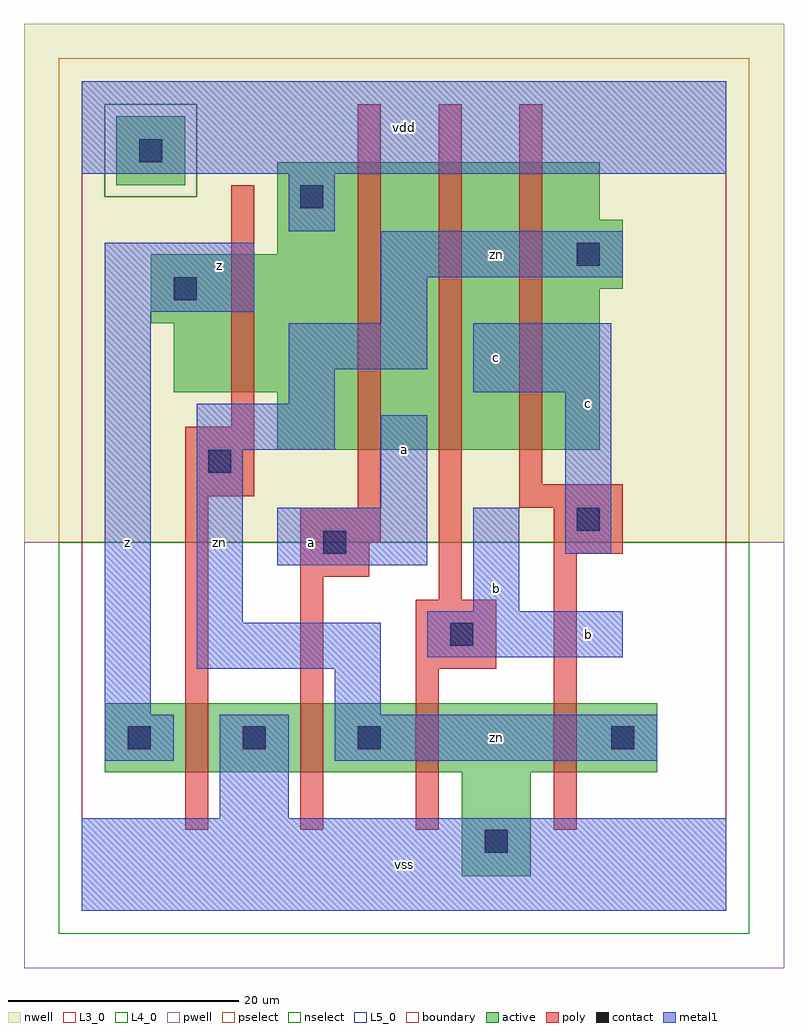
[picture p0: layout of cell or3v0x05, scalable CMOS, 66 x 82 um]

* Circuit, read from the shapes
.subckt or3v0x05 a b c vdd vss z zn
M1 vss zn z VSUBS nfet w=6u l=2u
M2 zn a vss VSUBS nfet w=6u l=2u
M3 vss b zn VSUBS nfet w=6u l=2u
M4 zn c vss VSUBS nfet w=6u l=2u
M5 vdd zn z vdd pfet w=12u l=2u
M6 n1 a vdd vdd pfet w=25u l=2u
M7 n2 b n1 vdd pfet w=25u l=2u
M8 zn c n2 vdd pfet w=25u l=2u
.ends

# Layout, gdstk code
import gdstk
lib = gdstk.Library(unit=1e-6, precision=1e-09)
def R(c, l, rs):  # rectangles x0, y0, x1, y1
    for r in rs: c.add(gdstk.rectangle(r[:2], r[2:], *l))
def A(c, l, x, y, w, h, nx, ny, dx, dy):  # array of equal rectangles
    R(c, l, [(x+i*dx, y+j*dy, x+i*dx+w, y+j*dy+h) for i in range(nx) for j in range(ny)])
L3_0 = (3, 0)
L4_0 = (4, 0)
L5_0 = (5, 0)
contact = (25, 0)
pwell = (41, 0)
nwell = (42, 0)
active = (43, 0)
pselect = (44, 0)
nselect = (45, 0)
poly = (46, 0)
metal1 = (49, 0)
boundary = (63, 0)

or3v0x05 = lib.new_cell('or3v0x05')
R(or3v0x05, L3_0, [(33,3,39,12), (2,12,50,18)])
R(or3v0x05, L4_0, [(17,40,45,45), (8,45,45,51), (6,51,45,54), (6,54,47,57), (17,57,47,60), (17,60,45,65)])
R(or3v0x05, L5_0, [(3,63,9,69)])
A(or3v0x05, contact, 4, 14, 2, 2, 3, 1, 10, 0)
R(or3v0x05, contact, [(35,5,37,7), (46,14,48,16), (32,23,34,25), (21,31,23,33), (43,33,45,35), (11,38,13,40), (8,53,10,55), (43,56,45,58), (19,61,21,63), (5,65,7,67)])
R(or3v0x05, pwell, [(-5,-5,61,32)])
R(or3v0x05, nwell, [(-5,32,61,77)])
R(or3v0x05, active, [(33,3,39,12), (2,12,50,18), (17,40,45,45), (8,45,45,51), (6,51,45,54), (6,54,47,57), (17,57,47,60), (17,60,45,65), (3,63,9,69)])
R(or3v0x05, pselect, [(-2,32,58,62), (-2,62,2,70), (10,62,58,70), (-2,70,58,74)])
R(or3v0x05, nselect, [(-2,-2,58,32), (2,62,10,70)])
R(or3v0x05, poly, [(9,7,11,36), (19,7,21,29), (29,7,31,21), (41,7,43,31), (29,21,36,27), (31,27,33,70), (19,29,25,32), (41,31,47,35), (19,32,26,35), (24,35,26,70), (38,35,47,37), (9,36,15,42), (38,37,40,70), (13,42,15,63)])
R(or3v0x05, metal1, [(0,0,56,8), (12,8,18,17), (2,13,8,17), (22,13,50,17), (2,17,6,52), (22,17,26,21), (10,21,26,25), (30,22,47,26), (10,25,14,40), (34,26,38,35), (17,30,30,35), (42,31,46,45), (26,35,30,43), (10,40,22,44), (18,44,22,47), (34,45,46,51), (18,47,30,51), (26,51,30,55), (2,52,15,58), (26,55,47,59), (18,59,22,64), (0,64,56,72)])
R(or3v0x05, boundary, [(0,0,56,72)])
or3v0x05.add(gdstk.Label('zn', (12,32), layer=49, texttype=0))
or3v0x05.add(gdstk.Label('zn', (36,15), layer=49, texttype=0))
or3v0x05.add(gdstk.Label('zn', (36,57), layer=49, texttype=0))
or3v0x05.add(gdstk.Label('z', (4,32), layer=49, texttype=0))
or3v0x05.add(gdstk.Label('a', (20,32), layer=49, texttype=0))
or3v0x05.add(gdstk.Label('z', (12,56), layer=49, texttype=0))
or3v0x05.add(gdstk.Label('vss', (28,4), layer=49, texttype=0))
or3v0x05.add(gdstk.Label('b', (36,28), layer=49, texttype=0))
or3v0x05.add(gdstk.Label('a', (28,40), layer=49, texttype=0))
or3v0x05.add(gdstk.Label('c', (36,48), layer=49, texttype=0))
or3v0x05.add(gdstk.Label('vdd', (28,68), layer=49, texttype=0))
or3v0x05.add(gdstk.Label('b', (44,24), layer=49, texttype=0))
or3v0x05.add(gdstk.Label('c', (44,44), layer=49, texttype=0))

lib.write_gds('or3v0x05.gds')
